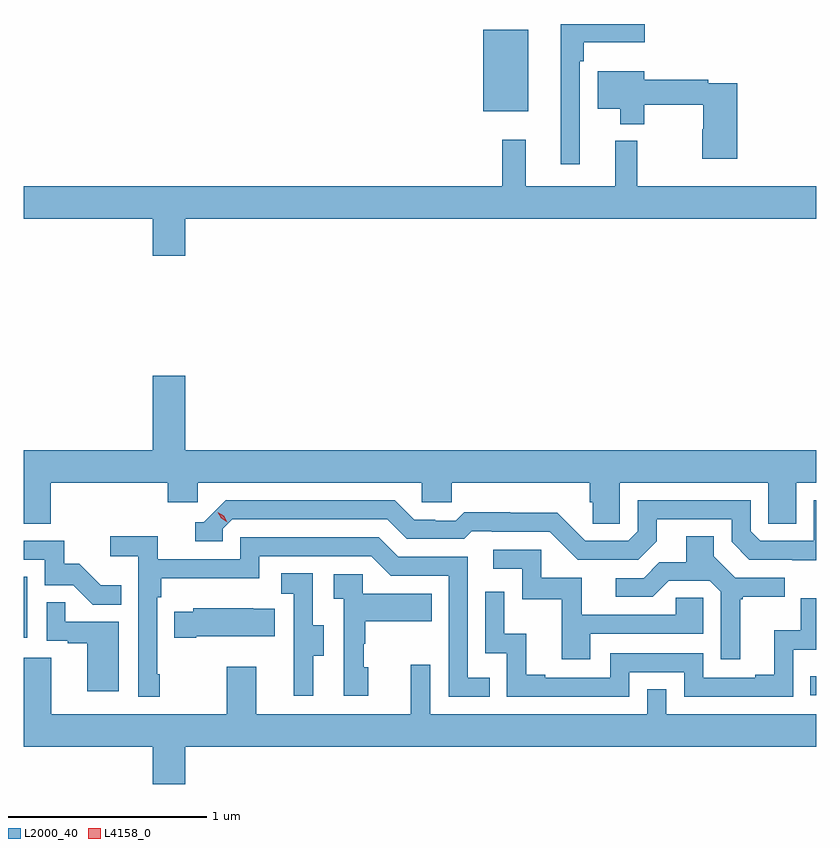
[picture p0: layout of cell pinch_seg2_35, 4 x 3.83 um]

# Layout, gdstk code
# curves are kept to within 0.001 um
import gdstk
lib = gdstk.Library(unit=1e-6, precision=1e-09)
def R(c, l, rs):  # rectangles x0, y0, x1, y1
    for r in rs: c.add(gdstk.rectangle(r[:2], r[2:], *l))
def P(c, l, *ps):  # polygons
    for p in ps: c.add(gdstk.Polygon(p, *l))
L2000_40 = (2000, 40)
L4158_0 = (4158, 0)

pinch_seg2_35 = lib.new_cell('pinch_seg2_35')
R(pinch_seg2_35, L2000_40, [(1127.365,654.555,1127.396,654.652), (1123.396,654.846,1123.414,655.153), (1125.716,657.503,1125.943,657.913)])
P(pinch_seg2_35, L2000_40, [(1126.203,657.755),(1126.223,657.755),(1126.223,657.851),(1126.531,657.851),(1126.531,657.942),(1126.106,657.942),(1126.106,657.234),(1126.203,657.234)],
  [(1126.997,657.642),(1126.85,657.642),(1126.85,657.662),(1126.528,657.662),(1126.528,657.703),(1126.292,657.703),(1126.292,657.515),(1126.406,657.515),(1126.406,657.437),(1126.528,657.437),(1126.528,657.534),(1126.826,657.534),(1126.826,657.411),(1126.819,657.411),(1126.819,657.261),(1126.997,657.261)],
  [(1124.212,656.96),(1127.396,656.96),(1127.396,657.124),(1126.492,657.124),(1126.492,657.352),(1126.382,657.352),(1126.382,657.124),(1125.929,657.124),(1125.929,657.358),(1125.811,657.358),(1125.811,657.124),(1123.396,657.124),(1123.396,656.96),(1124.048,656.96),(1124.048,656.772),(1124.212,656.772)],
  [(1123.532,655.628),(1124.123,655.628),(1124.123,655.53),(1124.274,655.53),(1124.274,655.628),(1125.405,655.628),(1125.405,655.53),(1125.555,655.53),(1125.555,655.628),(1126.253,655.628),(1126.253,655.53),(1126.267,655.53),(1126.267,655.42),(1126.404,655.42),(1126.404,655.628),(1127.154,655.628),(1127.154,655.42),(1127.293,655.42),(1127.293,655.628),(1127.396,655.628),(1127.396,655.792),(1124.212,655.792),(1124.212,656.167),(1124.048,656.167),(1124.048,655.792),(1123.396,655.792),(1123.396,655.42),(1123.532,655.42)],
  [(1127.396,655.539),(1127.382,655.539),(1127.382,655.335),(1127.112,655.335),(1127.064,655.383),(1127.064,655.539),(1126.494,655.539),(1126.494,655.383),(1126.446,655.335),(1126.23,655.335),(1126.088,655.477),(1125.852,655.477),(1125.852,655.48),(1125.619,655.48),(1125.577,655.437),(1125.474,655.437),(1125.474,655.44),(1125.367,655.44),(1125.268,655.539),(1124.415,655.539),(1124.304,655.428),(1124.261,655.428),(1124.261,655.332),(1124.4,655.332),(1124.4,655.395),(1124.448,655.443),(1125.231,655.443),(1125.33,655.344),(1125.619,655.344),(1125.658,655.383),(1125.757,655.383),(1125.757,655.38),(1126.05,655.38),(1126.191,655.239),(1126.497,655.239),(1126.591,655.333),(1126.591,655.443),(1126.968,655.443),(1126.968,655.329),(1127.058,655.239),(1127.396,655.238)],
  [(1124.083,654.661),(1124.07,654.661),(1124.07,655.049),(1124.09,655.049),(1124.09,655.145),(1124.586,655.145),(1124.586,655.257),(1125.15,655.257),(1125.249,655.158),(1125.54,655.158),(1125.54,654.549),(1125.749,654.549),(1125.749,654.645),(1125.636,654.645),(1125.636,655.254),(1125.286,655.254),(1125.187,655.353),(1124.49,655.353),(1124.49,655.242),(1124.072,655.242),(1124.072,655.358),(1123.833,655.358),(1123.833,655.256),(1123.974,655.256),(1123.974,654.549),(1124.083,654.549)],
  [(1127.011,655.041),(1127.023,655.041),(1127.023,655.052),(1127.236,655.052),(1127.236,655.149),(1126.986,655.149),(1126.879,655.256),(1126.879,655.358),(1126.739,655.358),(1126.739,655.226),(1126.604,655.226),(1126.524,655.146),(1126.383,655.146),(1126.383,655.053),(1126.57,655.053),(1126.651,655.134),(1126.857,655.134),(1126.914,655.077),(1126.914,654.738),(1127.011,654.738)],
  [(1123.889,655.111),(1123.785,655.111),(1123.678,655.218),(1123.602,655.218),(1123.602,655.335),(1123.396,655.335),(1123.396,655.239),(1123.503,655.239),(1123.503,655.11),(1123.647,655.11),(1123.745,655.012),(1123.889,655.012)],
  [(1126.255,654.867),(1126.824,654.867),(1126.824,655.047),(1126.687,655.047),(1126.687,654.963),(1126.213,654.963),(1126.213,655.149),(1126.008,655.149),(1126.008,655.29),(1125.765,655.29),(1125.765,655.194),(1125.912,655.194),(1125.912,655.041),(1126.111,655.041),(1126.111,654.738),(1126.255,654.738)],
  [(1124.857,654.754),(1124.911,654.754),(1124.911,654.909),(1124.856,654.909),(1124.856,655.172),(1124.697,655.172),(1124.697,655.069),(1124.76,655.069),(1124.76,654.765),(1124.759,654.765),(1124.759,654.552),(1124.857,654.552)],
  [(1125.136,654.696),(1125.111,654.696),(1125.111,654.815),(1125.121,654.815),(1125.121,654.929),(1125.455,654.929),(1125.455,655.069),(1125.108,655.069),(1125.108,655.167),(1124.961,655.167),(1124.961,655.043),(1125.012,655.043),(1125.012,654.552),(1125.136,654.552)],
  [(1126.452,654.672),(1126.728,654.672),(1126.728,654.549),(1127.28,654.549),(1127.28,654.785),(1127.396,654.785),(1127.396,655.044),(1127.316,655.044),(1127.316,654.883),(1127.183,654.883),(1127.183,654.658),(1127.087,654.658),(1127.087,654.645),(1126.824,654.645),(1126.824,654.768),(1126.356,654.768),(1126.356,654.645),(1126.027,654.645),(1126.027,654.658),(1125.932,654.658),(1125.932,654.866),(1125.822,654.866),(1125.822,655.078),(1125.726,655.078),(1125.726,654.768),(1125.834,654.768),(1125.834,654.549),(1126.452,654.549)],
  [(1123.876,654.927),(1123.607,654.927),(1123.607,655.025),(1123.512,655.025),(1123.512,654.831),(1123.619,654.831),(1123.619,654.819),(1123.718,654.819),(1123.718,654.576),(1123.876,654.576)],
  [(1124.266,654.854),(1124.663,654.854),(1124.663,654.991),(1124.555,654.991),(1124.555,654.994),(1124.253,654.994),(1124.253,654.976),(1124.155,654.976),(1124.155,654.847),(1124.266,654.847)],
  [(1124.212,654.296),(1127.396,654.296),(1127.396,654.46),(1126.638,654.46),(1126.638,654.587),(1126.542,654.587),(1126.542,654.46),(1125.447,654.46),(1125.447,654.709),(1125.35,654.709),(1125.35,654.46),(1124.569,654.46),(1124.569,654.7),(1124.422,654.7),(1124.422,654.46),(1123.537,654.46),(1123.537,654.746),(1123.397,654.746),(1123.397,654.572),(1123.396,654.572),(1123.396,654.296),(1124.048,654.296),(1124.048,654.108),(1124.212,654.108)])
P(pinch_seg2_35, L4158_0, [(1124.424,655.429),(1124.393,655.448),(1124.376,655.48),(1124.376,655.48),(1124.376,655.48),(1124.407,655.461),(1124.424,655.429),(1124.424,655.429)])

lib.write_gds('pinch_seg2_35.gds')
